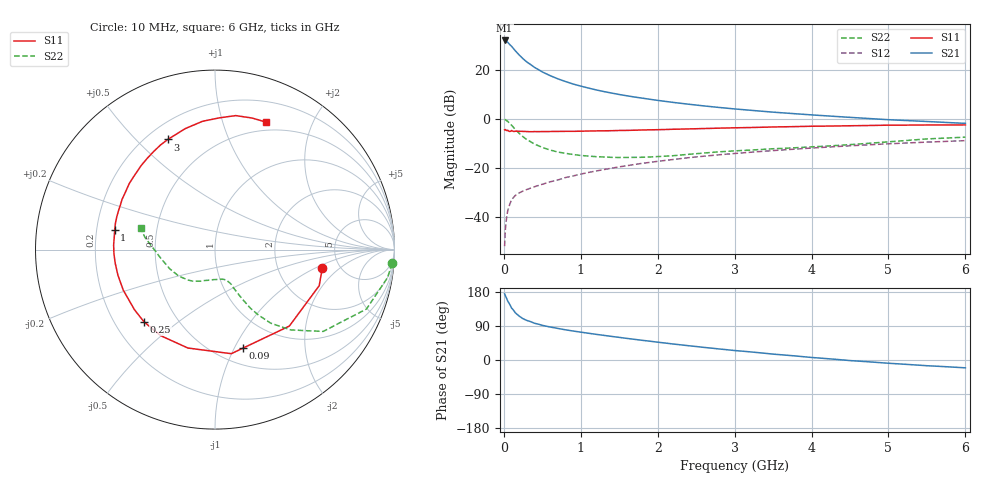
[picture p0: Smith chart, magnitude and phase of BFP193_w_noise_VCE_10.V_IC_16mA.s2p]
! Infineon Technologies  Discrete & RF Semiconductors
! BFP193
! VCE =  10. V,  IC =  16 mA
! Common Emitter S-Parameters:  Jan 2017
# GHz  S  MA  R  50
!  f  S11  S21  S12  S22
! GHz  MAG  ANG  MAG  ANG  MAG  ANG  MAG  ANG
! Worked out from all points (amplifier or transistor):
!   77 points, 10 MHz to 6 GHz, reference 50 ohm
!   highest |S21| = 32.0 dB at 10 MHz (marker M1)
!   |S21| within 3 dB of that: start of sweep to 117.1 MHz
!   unconditionally stable (mu >= 1): 987.5 MHz to 2.517 GHz
!   at 130 MHz: K = 0.32, MSG = 30.1 dB, |S12| = -31.7 dB
!   at 2.2 GHz: K = 1.02, MAG = 10.7 dB, |S12| = -16.4 dB
!   at 6 GHz: K = 0.88, MSG = 3.5 dB, |S12| = -8.7 dB
!   lowest NFmin = 0.97 dB at 450 MHz
!   S11 on the Smith chart (normalised r, x): 10 MHz: 3.69, -1.17; 90 MHz: 0.66, -1.08; 250 MHz: 0.32, -0.38; 1 GHz: 0.28, +0.09; 3 GHz: 0.28, +0.62; 6 GHz: 0.41, +1.40
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0.01  0.6066 -9.5  40.03 174.5  0.0026 81.8  0.9884 -4.4
0.02  0.6145 -19.1  39.95 169.7  0.0057 83.0  0.9746 -9.1
0.05  0.5942 -45.8  36.81 155.6  0.0135 70.7  0.9068 -21.4
0.09  0.5707 -74.2  31.48 141.5  0.0209 61.7  0.7808 -33.5
0.1  0.587 -81.1  30.51 137.3  0.0228 60.4  0.7558 -37.1
0.15  0.5688 -105.4  24.59 124.4  0.0281 52.0  0.6152 -46.7
0.2  0.5669 -122.2  20.23 115.7  0.0316 50.2  0.5136 -52.9
0.25  0.5644 -134.4  16.98 108.9  0.0345 48.3  0.4387 -56.4
0.3  0.5599 -143.3  14.53 104.3  0.0371 48.8  0.3828 -58.8
0.4  0.5587 -156.1  11.29 96.9  0.0422 50.3  0.3102 -61.3
0.5  0.5594 -165.1  9.154 91.5  0.0473 51.5  0.2657 -62.9
0.6  0.561 -172.1  7.718 87.1  0.053 53.4  0.236 -64.2
0.7  0.5635 -177.6  6.645 83.4  0.0577 55.1  0.2147 -64.9
1  0.5693 169.0  4.71 73.5  0.0761 57.1  0.1825 -69.5
1.1  0.574 165.1  4.295 70.6  0.0823 57.6  0.1774 -71.5
1.5  0.5886 151.7  3.179 59.7  0.107 56.8  0.1659 -82.6
2.1  0.6164 134.0  2.302 44.7  0.1448 52.9  0.1766 -104.1
3  0.6676 113.2  1.616 25.0  0.2002 44.8  0.2265 -131.6
3.1  0.6714 111.3  1.568 23.3  0.2059 43.8  0.2303 -134.2
4.1  0.7204 94.1  1.194 5.2  0.2639 33.6  0.2782 -159.7
5.1  0.7558 79.8  0.959 -9.8  0.3203 22.6  0.3553 176.6
6  0.7651 68.2  0.821 -20.7  0.3655 12.7  0.4307 163.9
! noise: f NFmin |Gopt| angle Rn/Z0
0.45  0.97  0.24  173  0.07
0.9  1.06  0.36  179  0.07
1.9  1.74  0.56  -142  0.14
2.4  2.05  0.62  -125  0.33
